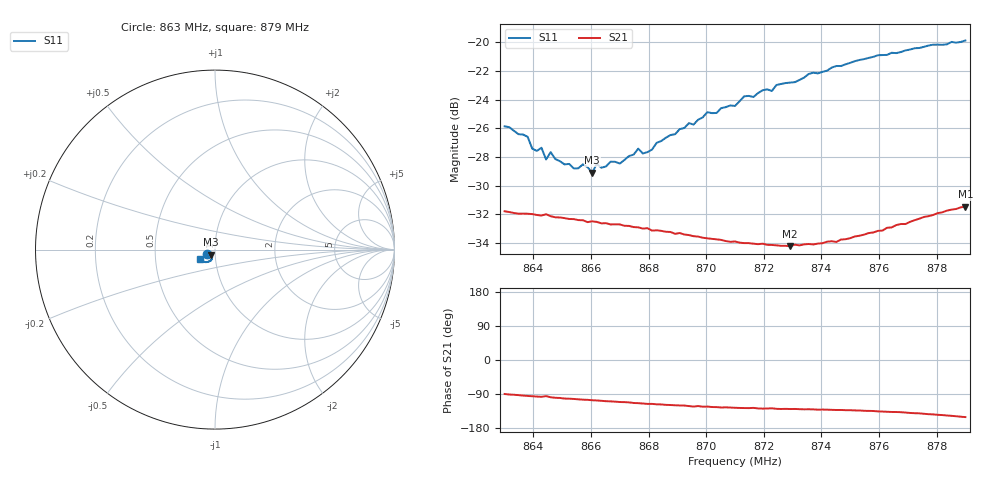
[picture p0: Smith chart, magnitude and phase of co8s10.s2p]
# HZ S RI R 50
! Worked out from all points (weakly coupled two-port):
!   101 points, 863 MHz to 879 MHz, reference 50 ohm
!   highest |S21| = -31.47 dB at 879 MHz (marker M1); lowest = -34.2 dB at 872.92 MHz (marker M2)
!   lowest |S11| = -29.1 dB at 866.04 MHz (marker M3), VSWR 1.07, Z = 47.8 - j2.67 ohm
!   |S11| at or under -10 dB: start of sweep to end of sweep
!   S12 and S22 are empty: the file has one direction only
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8.63e8  -0.0451 -0.0235  0.000158 -0.0257  0 0  0 0
8.638e8  -0.0402 -0.0238  -0.00213 -0.0251  0 0  0 0
8.6396e8  -0.0364 -0.022  -0.00248 -0.025  0 0  0 0
8.6428e8  -0.0349 -0.0248  -0.00305 -0.0247  0 0  0 0
8.6444e8  -0.031 -0.0236  -0.00228 -0.025  0 0  0 0
8.646e8  -0.0327 -0.0254  -0.00358 -0.0245  0 0  0 0
8.654e8  -0.0259 -0.0254  -0.00535 -0.0236  0 0  0 0
8.6572e8  -0.025 -0.028  -0.00607 -0.0232  0 0  0 0
8.6604e8  -0.0212 -0.0279  -0.00662 -0.0228  0 0  0 0
8.662e8  -0.0238 -0.0292  -0.0068 -0.0226  0 0  0 0
8.6636e8  -0.0216 -0.0294  -0.0071 -0.0222  0 0  0 0
8.67e8  -0.0186 -0.0328  -0.00825 -0.0216  0 0  0 0
8.6764e8  -0.0178 -0.0387  -0.00916 -0.0207  0 0  0 0
8.6796e8  -0.0161 -0.0381  -0.00978 -0.0202  0 0  0 0
8.6844e8  -0.0165 -0.0421  -0.0101 -0.0195  0 0  0 0
8.7004e8  -0.0199 -0.0535  -0.0112 -0.0174  0 0  0 0
8.71e8  -0.0203 -0.0564  -0.0119 -0.0163  0 0  0 0
8.7132e8  -0.0245 -0.06  -0.0119 -0.016  0 0  0 0
8.7292e8  -0.0317 -0.065  -0.0123 -0.015  0 0  0 0
8.7372e8  -0.0374 -0.0688  -0.0127 -0.015  0 0  0 0
8.7644e8  -0.062 -0.0678  -0.0166 -0.0154  0 0  0 0
8.79e8  -0.0854 -0.0547  -0.0233 -0.0131  0 0  0 0
